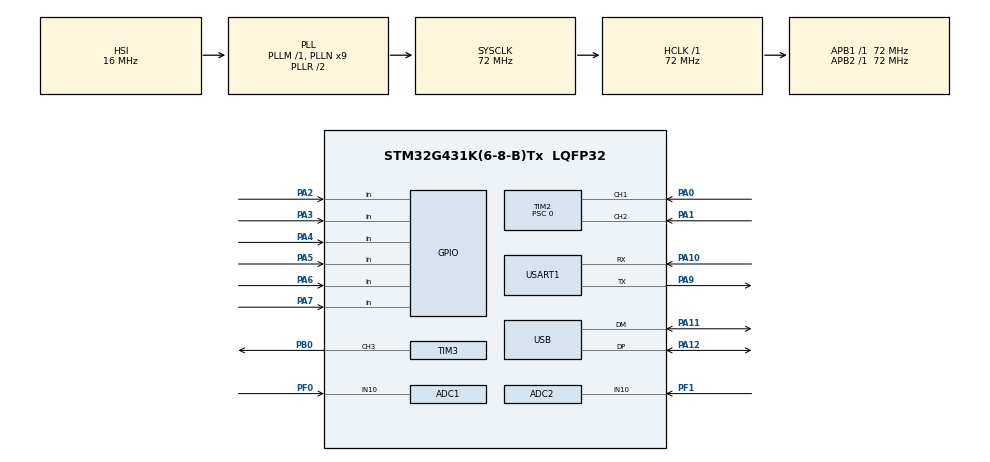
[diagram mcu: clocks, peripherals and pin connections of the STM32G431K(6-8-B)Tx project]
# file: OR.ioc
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ADC1.Channel-1\#ChannelRegularConversion=ADC_CHANNEL_10
ADC1.ContinuousConvMode=ENABLE
ADC1.DMAContinuousRequests=ENABLE
ADC1.NbrOfConversionFlag=1
ADC1.OffsetNumber-1\#ChannelRegularConversion=ADC_OFFSET_NONE
ADC1.Rank-1\#ChannelRegularConversion=1
ADC1.SamplingTime-1\#ChannelRegularConversion=ADC_SAMPLETIME_640CYCLES_5
ADC1.master=1
ADC2.Channel-0\#ChannelRegularConversion=ADC_CHANNEL_10
ADC2.ContinuousConvMode=ENABLE
ADC2.DMAContinuousRequests=ENABLE
ADC2.LowPowerAutoWait=DISABLE
ADC2.NbrOfConversion=1
ADC2.NbrOfConversionFlag=1
ADC2.OffsetNumber-0\#ChannelRegularConversion=ADC_OFFSET_NONE
ADC2.Rank-0\#ChannelRegularConversion=1
ADC2.SamplingTime-0\#ChannelRegularConversion=ADC_SAMPLETIME_640CYCLES_5
Dma.ADC1.0.Direction=DMA_PERIPH_TO_MEMORY
Dma.ADC1.0.EventEnable=DISABLE
Dma.ADC1.0.Instance=DMA1_Channel1
Dma.ADC1.0.MemDataAlignment=DMA_MDATAALIGN_HALFWORD
Dma.ADC1.0.MemInc=DMA_MINC_ENABLE
Dma.ADC1.0.Mode=DMA_CIRCULAR
Dma.ADC1.0.PeriphDataAlignment=DMA_PDATAALIGN_HALFWORD
Dma.ADC1.0.PeriphInc=DMA_PINC_DISABLE
Dma.ADC1.0.Polarity=HAL_DMAMUX_REQ_GEN_RISING
Dma.ADC1.0.Priority=DMA_PRIORITY_LOW
Dma.ADC1.0.RequestNumber=1
Dma.ADC1.0.SignalID=NONE
Dma.ADC1.0.SyncEnable=DISABLE
Dma.ADC1.0.SyncPolarity=HAL_DMAMUX_SYNC_NO_EVENT
Dma.ADC1.0.SyncRequestNumber=1
Dma.ADC1.0.SyncSignalID=NONE
Dma.ADC2.1.Direction=DMA_PERIPH_TO_MEMORY
Dma.ADC2.1.EventEnable=DISABLE
Dma.ADC2.1.Instance=DMA1_Channel2
Dma.ADC2.1.MemDataAlignment=DMA_MDATAALIGN_HALFWORD
Dma.ADC2.1.MemInc=DMA_MINC_ENABLE
Dma.ADC2.1.Mode=DMA_CIRCULAR
Dma.ADC2.1.PeriphDataAlignment=DMA_PDATAALIGN_HALFWORD
Dma.ADC2.1.PeriphInc=DMA_PINC_DISABLE
Dma.ADC2.1.Polarity=HAL_DMAMUX_REQ_GEN_RISING
Dma.ADC2.1.Priority=DMA_PRIORITY_LOW
Dma.ADC2.1.RequestNumber=1
Dma.ADC2.1.SignalID=NONE
Dma.ADC2.1.SyncEnable=DISABLE
Dma.ADC2.1.SyncPolarity=HAL_DMAMUX_SYNC_NO_EVENT
Dma.ADC2.1.SyncRequestNumber=1
Dma.ADC2.1.SyncSignalID=NONE
Dma.Request0=ADC1
Dma.Request1=ADC2
Dma.Request2=TIM3_CH3
Dma.Request3=TIM2_UP
Dma.TIM2_UP.3.Direction=DMA_PERIPH_TO_MEMORY
Dma.TIM2_UP.3.EventEnable=DISABLE
Dma.TIM2_UP.3.Instance=DMA1_Channel4
Dma.TIM2_UP.3.MemDataAlignment=DMA_MDATAALIGN_WORD
Dma.TIM2_UP.3.MemInc=DMA_MINC_ENABLE
Dma.TIM2_UP.3.Mode=DMA_CIRCULAR
Dma.TIM2_UP.3.PeriphDataAlignment=DMA_PDATAALIGN_WORD
Dma.TIM2_UP.3.PeriphInc=DMA_PINC_DISABLE
Dma.TIM2_UP.3.Polarity=HAL_DMAMUX_REQ_GEN_RISING
Dma.TIM2_UP.3.Priority=DMA_PRIORITY_MEDIUM
Dma.TIM2_UP.3.RequestNumber=1
Dma.TIM2_UP.3.SignalID=NONE
Dma.TIM2_UP.3.SyncEnable=DISABLE
Dma.TIM2_UP.3.SyncPolarity=HAL_DMAMUX_SYNC_NO_EVENT
Dma.TIM2_UP.3.SyncRequestNumber=1
Dma.TIM2_UP.3.SyncSignalID=NONE
Dma.TIM3_CH3.2.Direction=DMA_MEMORY_TO_PERIPH
Dma.TIM3_CH3.2.EventEnable=DISABLE
Dma.TIM3_CH3.2.Instance=DMA1_Channel3
Dma.TIM3_CH3.2.MemDataAlignment=DMA_MDATAALIGN_HALFWORD
Dma.TIM3_CH3.2.MemInc=DMA_MINC_ENABLE
Dma.TIM3_CH3.2.Mode=DMA_NORMAL
Dma.TIM3_CH3.2.PeriphDataAlignment=DMA_PDATAALIGN_HALFWORD
Dma.TIM3_CH3.2.PeriphInc=DMA_PINC_DISABLE
Dma.TIM3_CH3.2.Polarity=HAL_DMAMUX_REQ_GEN_RISING
Dma.TIM3_CH3.2.Priority=DMA_PRIORITY_LOW
Dma.TIM3_CH3.2.RequestNumber=1
Dma.TIM3_CH3.2.SignalID=NONE
Dma.TIM3_CH3.2.SyncEnable=DISABLE
Dma.TIM3_CH3.2.SyncPolarity=HAL_DMAMUX_SYNC_NO_EVENT
Dma.TIM3_CH3.2.SyncRequestNumber=1
Dma.TIM3_CH3.2.SyncSignalID=NONE
Mcu.Family=STM32G4
Mcu.Name=STM32G431K(6-8-B)Tx
Mcu.Package=LQFP32
NVIC.DMA1_Channel1_IRQn=true\:0\:0\:false\:false\:true\:false\:true\:true
NVIC.DMA1_Channel2_IRQn=true\:0\:0\:false\:false\:true\:false\:true\:true
NVIC.DMA1_Channel3_IRQn=true\:0\:0\:false\:false\:true\:false\:true\:true
NVIC.DMA1_Channel4_IRQn=true\:0\:0\:false\:false\:true\:false\:true\:true
NVIC.PriorityGroup=NVIC_PRIORITYGROUP_4
NVIC.TIM2_IRQn=true\:0\:0\:false\:false\:true\:true\:true\:true
NVIC.TIM3_IRQn=true\:0\:0\:false\:false\:true\:true\:true\:true
NVIC.USB_LP_IRQn=true\:0\:0\:false\:false\:true\:false\:true\:true
PA0.GPIO_PuPd=GPIO_PULLUP
PA0.Signal=S_TIM2_CH1
PA1.GPIO_PuPd=GPIO_PULLUP
PA1.Signal=S_TIM2_CH2
PA10.Mode=Asynchronous
PA10.Signal=USART1_RX
PA11.Mode=Device
PA11.Signal=USB_DM
PA12.Mode=Device
PA12.Signal=USB_DP
PA13.Mode=Serial_Wire
PA13.Signal=SYS_JTMS-SWDIO
PA14.Mode=Serial_Wire
PA14.Signal=SYS_JTCK-SWCLK
PA2.GPIO_PuPd=GPIO_PULLUP
PA2.Signal=GPIO_Input
PA3.GPIO_PuPd=GPIO_PULLUP
PA3.Signal=GPIO_Input
PA4.GPIO_PuPd=GPIO_PULLUP
PA4.Signal=GPIO_Input
PA5.GPIO_PuPd=GPIO_PULLUP
PA5.Signal=GPIO_Input
PA6.GPIO_PuPd=GPIO_PULLUP
PA6.Signal=GPIO_Input
PA7.GPIO_PuPd=GPIO_PULLUP
PA7.Signal=GPIO_Input
PA9.Mode=Asynchronous
PA9.Signal=USART1_TX
PB0.Signal=S_TIM3_CH3
PF0-OSC_IN.Mode=IN10-Single-Ended
PF0-OSC_IN.Signal=ADC1_IN10
PF1-OSC_OUT.Mode=IN10-Single-Ended
PF1-OSC_OUT.Signal=ADC2_IN10
ProjectManager.HeapSize=0x200
ProjectManager.StackSize=0x400
ProjectManager.TargetToolchain=STM32CubeIDE
RCC.ADC12Freq_Value=72000000
RCC.AHBFreq_Value=72000000
RCC.APB1Freq_Value=72000000
RCC.APB1TimFreq_Value=72000000
RCC.APB2Freq_Value=72000000
RCC.APB2TimFreq_Value=72000000
RCC.CK48CLockSelection=RCC_USBCLKSOURCE_HSI48
RCC.CortexFreq_Value=72000000
RCC.EXTERNAL_CLOCK_VALUE=12288000
RCC.HCLKFreq_Value=72000000
RCC.HSE_VALUE=8000000
RCC.HSI48_VALUE=48000000
RCC.HSI_VALUE=16000000
RCC.LSE_VALUE=32768
RCC.PLLN=9
RCC.PLLQ=RCC_PLLQ_DIV4
RCC.SYSCLKFreq_VALUE=72000000
RCC.SYSCLKSource=RCC_SYSCLKSOURCE_PLLCLK
RCC.USBFreq_Value=48000000
RCC.VCOOutputFreq_Value=144000000
SH.S_TIM2_CH1.0=TIM2_CH1,Encoder_Interface
SH.S_TIM2_CH2.0=TIM2_CH2,Encoder_Interface
SH.S_TIM3_CH3.0=TIM3_CH3,PWM Generation3 CH3
TIM2.AutoReloadPreload=TIM_AUTORELOAD_PRELOAD_DISABLE
TIM2.ClockDivision=TIM_CLOCKDIVISION_DIV1
TIM2.Dithering=Disable
TIM2.EncoderMode=TIM_ENCODERMODE_TI1
TIM2.IC1Filter=10
TIM2.IC1Polarity=TIM_ICPOLARITY_RISING
TIM2.IC2Filter=10
TIM2.IC2Polarity=TIM_ICPOLARITY_RISING
TIM2.PeriodNoDither=19
TIM2.Prescaler=0
TIM3.AutoReloadPreload=TIM_AUTORELOAD_PRELOAD_DISABLE
TIM3.Channel-PWM\ Generation3\ CH3=TIM_CHANNEL_3
TIM3.PeriodNoDither=90-1
TIM3.Prescaler=0
USART1.VirtualMode-Asynchronous=VM_ASYNC
USB.battery_charging_enable=DISABLE
USB_DEVICE.CLASS_NAME_FS=HID
USB_DEVICE.PRODUCT_STRING_HID_FS=Galileo
USB_DEVICE.VirtualMode=Hid
USB_DEVICE.VirtualModeFS=Hid_FS
VP_CRC_VS_CRC.Mode=CRC_Activate
VP_SYS_VS_DBSignals.Mode=DisableDeadBatterySignals
VP_TIM3_VS_ClockSourceINT.Mode=Internal
VP_USB_DEVICE_VS_USB_DEVICE_HID_FS.Mode=HID_FS
board=custom

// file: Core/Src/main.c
/* USER CODE BEGIN Header */
/**
 ******************************************************************************
 * @file           : main.c
 * @brief          : Main program body
 ******************************************************************************
 * @attention
 *
 * Copyright (c) 2025 STMicroelectronics.
 * All rights reserved.
 *
 * This software is licensed under terms that can be found in the LICENSE file
 * in the root directory of this software component.
 * If no LICENSE file comes with this software, it is provided AS-IS.
 *
 ******************************************************************************
 */
/* USER CODE END Header */
#include "main.h"
#include "adc.h"
#include "crc.h"
#include "dma.h"
#include "tim.h"
#include "usart.h"
#include "usb_device.h"
#include "gpio.h"

/* USER CODE BEGIN Includes */
#include "math.h"
#include "usbd_hid.h"
#include "Keyboard_defs.h"
#include "mouse.h"
#include "WS2812B.h"
/* USER CODE END Includes */

/* USER CODE BEGIN PTD */
// Zmienne dla danych z joysticka (zakładam, że są w zakresie 0-4095 dla 12-bit ADC)
//uint32_t axisX = 2048; // Środek zakresu
//uint32_t axisY = 2048; // Środek zakresu
// Zmienne do kalibracji
/* USER CODE END PTD */

void SystemClock_Config(void);

/* USER CODE BEGIN 0 */

// volatile - axisX/axisY zapisuje DMA, encoder odświeża moduł myszki,
// bez tego kompilator trzymałby te wartości w rejestrze i pętla widziałaby
// zawsze pierwszy odczyt
volatile uint32_t axisX;
volatile uint32_t axisY;
volatile uint32_t encoder;

uint32_t ax, bx, ay, by, az, bz, en;
uint32_t encoderBuffer[1] = { 0 };
#define JOYSTICK_NUMBER_CONVERTION_DMA 1

/* USER CODE END 0 */

int main(void)
{

  /* MCU Configuration--------------------------------------------------------*/

  /* Reset of all peripherals, Initializes the Flash interface and the Systick. */
  HAL_Init();

  /* Configure the system clock */
  SystemClock_Config();

  /* Initialize all configured peripherals */
  MX_GPIO_Init();
  MX_DMA_Init();
  MX_ADC1_Init();
  MX_ADC2_Init();
  MX_TIM2_Init();
  MX_CRC_Init();
  MX_USB_Device_Init();
  MX_TIM3_Init();
  MX_USART1_UART_Init();
  /* USER CODE BEGIN 2 */

	HAL_ADC_Start_DMA(&hadc1, (uint32_t*) &axisY, JOYSTICK_NUMBER_CONVERTION_DMA);
	HAL_ADC_Start_DMA(&hadc2, (uint32_t*) &axisX, JOYSTICK_NUMBER_CONVERTION_DMA);
	HAL_TIM_Encoder_Start(&htim2, TIM_CHANNEL_ALL);
	mouseInit();
	buttonsInit();
	WS2812_SetLED(0, 0, 0, 255);
	WS2812_SetLED(1, 255, 0, 235);
	WS2812_SetLED(2, 0, 255, 255);
	WS2812_SetBrightness(45);
	WS2812_Send();
  /* USER CODE END 2 */

  /* Infinite loop */
  /* USER CODE BEGIN WHILE */
	while (1)
	{
		// Osie joysticka, enkoder i przyciski PA2/PA3/PA4 jadą w jednym raporcie
		// HID Multi-axis. Bez HAL_Delay(): funkcja sama odmierza
		// MOUSE_REPORT_INTERVAL_MS, a enkoder odpytuje w każdym obiegu, żeby nie
		// zgubić impulsów.
		processMouseInput(buttonsRead());

    /* USER CODE END WHILE */

	}
}

void SystemClock_Config(void)
{
  RCC_OscInitTypeDef RCC_OscInitStruct = {0};
  RCC_ClkInitTypeDef RCC_ClkInitStruct = {0};

  /** Configure the main internal regulator output voltage
  */
  HAL_PWREx_ControlVoltageScaling(PWR_REGULATOR_VOLTAGE_SCALE1);

  /** Initializes the RCC Oscillators according to the specified parameters
  * in the RCC_OscInitTypeDef structure.
  */
  RCC_OscInitStruct.OscillatorType = RCC_OSCILLATORTYPE_HSI|RCC_OSCILLATORTYPE_HSI48;
  RCC_OscInitStruct.HSIState = RCC_HSI_ON;
  RCC_OscInitStruct.HSICalibrationValue = RCC_HSICALIBRATION_DEFAULT;
  RCC_OscInitStruct.HSI48State = RCC_HSI48_ON;
  RCC_OscInitStruct.PLL.PLLState = RCC_PLL_ON;
  RCC_OscInitStruct.PLL.PLLSource = RCC_PLLSOURCE_HSI;
  RCC_OscInitStruct.PLL.PLLM = RCC_PLLM_DIV1;
  RCC_OscInitStruct.PLL.PLLN = 9;
  RCC_OscInitStruct.PLL.PLLP = RCC_PLLP_DIV2;
  RCC_OscInitStruct.PLL.PLLQ = RCC_PLLQ_DIV4;
  RCC_OscInitStruct.PLL.PLLR = RCC_PLLR_DIV2;
  if (HAL_RCC_OscConfig(&RCC_OscInitStruct) != HAL_OK)
  {
    Error_Handler();
  }

  /** Initializes the CPU, AHB and APB buses clocks
  */
  RCC_ClkInitStruct.ClockType = RCC_CLOCKTYPE_HCLK|RCC_CLOCKTYPE_SYSCLK
                              |RCC_CLOCKTYPE_PCLK1|RCC_CLOCKTYPE_PCLK2;
  RCC_ClkInitStruct.SYSCLKSource = RCC_SYSCLKSOURCE_PLLCLK;
  RCC_ClkInitStruct.AHBCLKDivider = RCC_SYSCLK_DIV1;
  RCC_ClkInitStruct.APB1CLKDivider = RCC_HCLK_DIV1;
  RCC_ClkInitStruct.APB2CLKDivider = RCC_HCLK_DIV1;

  if (HAL_RCC_ClockConfig(&RCC_ClkInitStruct, FLASH_LATENCY_2) != HAL_OK)
  {
    Error_Handler();
  }
}

void Error_Handler(void)
{
	__disable_irq();
	while (1)
	{
	}
}
